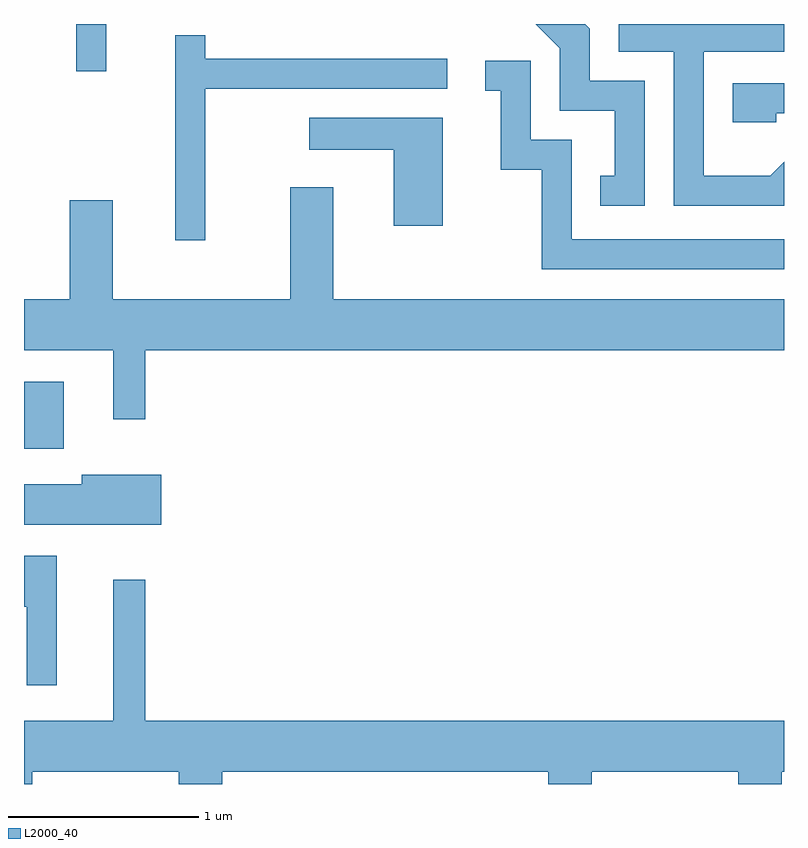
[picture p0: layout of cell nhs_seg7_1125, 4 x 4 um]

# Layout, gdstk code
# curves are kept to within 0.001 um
import gdstk
lib = gdstk.Library(unit=1e-6, precision=1e-09)
def R(c, l, rs):  # rectangles x0, y0, x1, y1
    for r in rs: c.add(gdstk.rectangle(r[:2], r[2:], *l))
def P(c, l, *ps):  # polygons
    for p in ps: c.add(gdstk.Polygon(p, *l))
L2000_40 = (2000, 40)

nhs_seg7_1125 = lib.new_cell('nhs_seg7_1125')
R(nhs_seg7_1125, L2000_40, [(219.611,1716.016,219.819,1716.369), (219.886,1718.003,220.044,1718.252)])
P(nhs_seg7_1125, L2000_40, [(223.611,1717.526),(223.539,1717.454),(223.189,1717.454),(223.189,1718.106),(223.611,1718.106),(223.611,1718.252),(222.741,1718.252),(222.741,1718.106),(223.031,1718.106),(223.031,1717.296),(223.611,1717.296)],
  [(222.879,1717.954),(222.589,1717.954),(222.589,1718.227),(222.564,1718.252),(220.821,1718.252),(222.304,1718.251),(222.431,1718.124),(222.431,1717.796),(222.721,1717.796),(222.721,1717.454),(222.643,1717.454),(222.643,1717.296),(222.879,1717.296)],
  [(220.564,1717.911),(221.838,1717.911),(221.838,1718.069),(220.564,1718.069),(220.564,1718.193),(220.406,1718.193),(220.406,1717.113),(220.564,1717.113)],
  [(223.611,1717.119),(222.494,1717.119),(222.494,1717.644),(222.279,1717.644),(222.279,1718.059),(222.038,1718.059),(222.038,1717.901),(222.121,1717.901),(222.121,1717.486),(222.336,1717.486),(222.336,1716.961),(223.611,1716.961)],
  [(223.569,1717.781),(223.611,1717.781),(223.611,1717.939),(223.341,1717.939),(223.341,1717.736),(223.569,1717.736)],
  [(221.814,1717.759),(221.113,1717.759),(221.113,1717.591),(221.556,1717.591),(221.556,1717.191),(221.814,1717.191)],
  [(220.249,1716.536),(223.611,1716.536),(223.611,1716.804),(221.239,1716.804),(221.239,1717.394),(221.011,1717.394),(221.011,1716.804),(220.079,1716.804),(220.079,1717.324),(219.851,1717.324),(219.851,1716.804),(219.611,1716.804),(219.611,1716.536),(220.081,1716.536),(220.081,1716.173),(220.249,1716.173)],
  [(220.334,1715.879),(219.916,1715.879),(219.916,1715.829),(219.611,1715.829),(219.611,1715.616),(220.334,1715.616)],
  [(219.784,1715.454),(219.611,1715.454),(219.611,1715.186),(219.626,1715.186),(219.626,1714.773),(219.784,1714.773)],
  [(219.654,1714.316),(220.426,1714.316),(220.426,1714.252),(220.654,1714.252),(220.654,1714.316),(222.371,1714.316),(222.371,1714.252),(222.599,1714.252),(222.599,1714.316),(223.371,1714.316),(223.371,1714.252),(223.599,1714.252),(223.599,1714.316),(223.611,1714.316),(223.611,1714.584),(220.249,1714.584),(220.249,1715.328),(220.081,1715.328),(220.081,1714.584),(219.611,1714.584),(219.611,1714.252),(219.654,1714.252)])

lib.write_gds('nhs_seg7_1125.gds')
